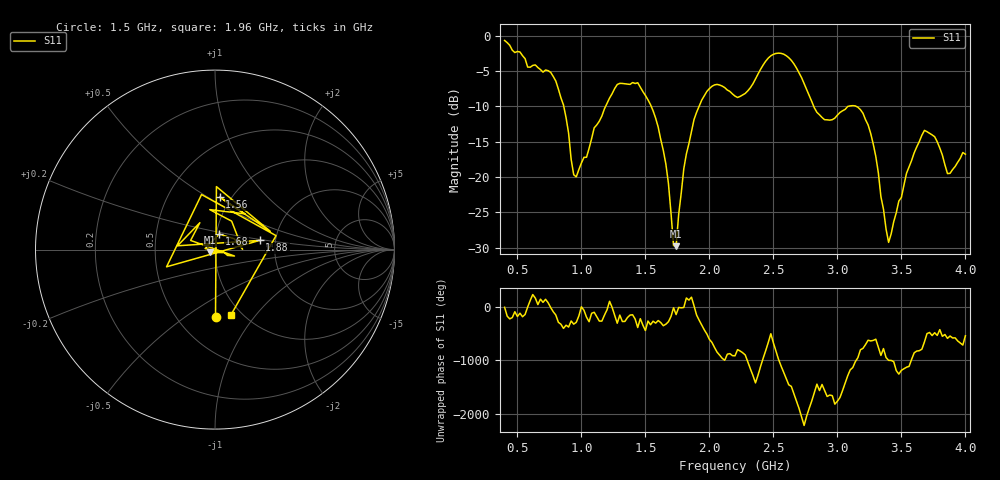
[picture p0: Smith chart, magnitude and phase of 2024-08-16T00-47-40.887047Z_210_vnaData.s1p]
!Created with skrf (http://scikit-rf.org).
# Hz S RI R 50.0
!freq ReS11 ImS11
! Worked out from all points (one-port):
!   181 points, 400 MHz to 4 GHz, reference 50 ohm
!   lowest |S11| = -29.8 dB at 1.74 GHz (marker M1), VSWR 1.07, Z = 47.2 - j1.51 ohm
!   |S11| at or under -10 dB: 861.9 MHz to 1.19 GHz (327.6 MHz wide, 31.9 % of centre); 1.545 GHz to 1.92 GHz (375.4 MHz wide, 21.7 % of centre); 3.144 GHz to end of sweep (the widest 3 of 4)
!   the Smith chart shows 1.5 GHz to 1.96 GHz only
!   S11 on the Smith chart (normalised r, x): 1.5 GHz: 0.76, -0.66; 1.56 GHz: 0.88, +0.57; 1.68 GHz: 1.03, +0.18; 1.88 GHz: 1.65, +0.18; 1.96 GHz: 0.89, -0.76
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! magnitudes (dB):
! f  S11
! 400 MHz  -0.7
! 760 MHz  -5.2
! 860 MHz  -9.8
! 940 MHz  -19.7
! 960 MHz  -20.0
! 1.3 GHz  -6.8
! 1.5 GHz  -8.5
! 1.56 GHz  -10.6
! 1.68 GHz  -20.9
! 1.72 GHz  -29.7
! 1.74 GHz  -29.8
! 1.76 GHz  -25.3
! 1.8 GHz  -18.9
! 1.88 GHz  -11.9
! 1.96 GHz  -8.5
! 2.06 GHz  -6.9
! 2.2 GHz  -8.6
! 2.5 GHz  -2.7
! 2.66 GHz  -4.0
! 2.9 GHz  -11.9
! 3.1 GHz  -10.0
! 3.26 GHz  -13.8
! 3.4 GHz  -29.3
! 3.56 GHz  -18.6
! 3.68 GHz  -13.4
! 3.76 GHz  -14.3
! 3.86 GHz  -19.5
! 4 GHz  -16.8
